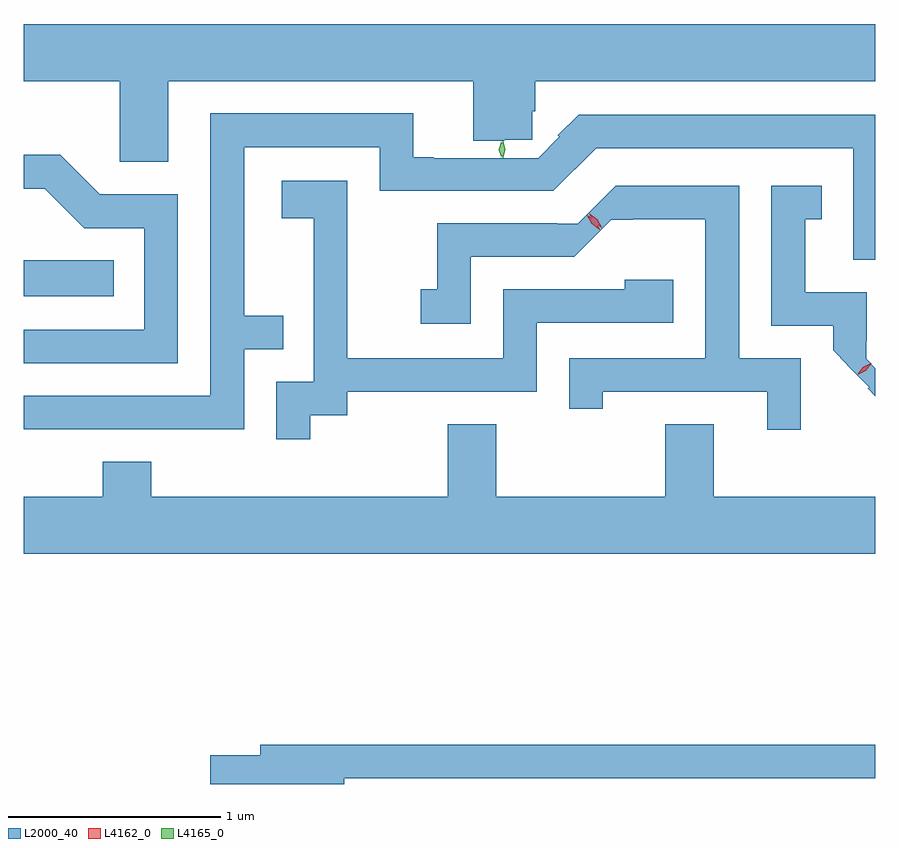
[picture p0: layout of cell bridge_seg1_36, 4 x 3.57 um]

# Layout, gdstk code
import gdstk
lib = gdstk.Library(unit=1e-6, precision=1e-09)
def R(c, l, rs):  # rectangles x0, y0, x1, y1
    for r in rs: c.add(gdstk.rectangle(r[:2], r[2:], *l))
def P(c, l, *ps):  # polygons
    for p in ps: c.add(gdstk.Polygon(p, *l))
L2000_40 = (2000, 40)
L4162_0 = (4162, 0)
L4165_0 = (4165, 0)

bridge_seg1_36 = lib.new_cell('bridge_seg1_36')
R(bridge_seg1_36, L2000_40, [(1534.549,876.366,1534.973,876.534)])
P(bridge_seg1_36, L2000_40, [(1535.229,877.376),(1536.661,877.376),(1536.661,877.096),(1536.807,877.096),(1536.807,877.101),(1536.938,877.101),(1536.938,877.234),(1536.952,877.234),(1536.952,877.376),(1538.549,877.376),(1538.549,877.644),(1534.549,877.644),(1534.549,877.376),(1535.001,877.376),(1535.001,876.996),(1535.229,876.996)],
  [(1535.584,876.116),(1535.768,876.116),(1535.768,876.274),(1535.584,876.274),(1535.584,877.066),(1536.221,877.066),(1536.221,876.861),(1537.037,876.861),(1537.237,877.061),(1538.446,877.061),(1538.446,876.536),(1538.549,876.536),(1538.549,877.219),(1537.155,877.219),(1537.057,877.121),(1537.064,877.114),(1536.965,877.014),(1536.475,877.014),(1536.475,877.019),(1536.379,877.019),(1536.379,877.224),(1535.426,877.224),(1535.426,875.899),(1534.549,875.899),(1534.549,875.741),(1535.584,875.741)],
  [(1535.274,876.844),(1534.907,876.844),(1534.722,877.029),(1534.549,877.029),(1534.549,876.871),(1534.649,876.871),(1534.834,876.686),(1535.116,876.686),(1535.116,876.209),(1534.549,876.209),(1534.549,876.051),(1535.274,876.051)],
  [(1535.894,875.806),(1536.069,875.806),(1536.069,875.916),(1536.959,875.916),(1536.959,876.241),(1537.599,876.241),(1537.599,876.444),(1537.371,876.444),(1537.371,876.399),(1536.801,876.399),(1536.801,876.074),(1536.069,876.074),(1536.069,876.909),(1535.761,876.909),(1535.761,876.731),(1535.911,876.731),(1535.911,875.964),(1535.736,875.964),(1535.736,875.693),(1535.894,875.693)],
  [(1538.549,876.027),(1538.505,876.071),(1538.505,876.155),(1538.508,876.155),(1538.508,876.384),(1538.219,876.384),(1538.219,876.726),(1538.298,876.726),(1538.298,876.884),(1538.061,876.884),(1538.061,876.226),(1538.351,876.226),(1538.351,876.111),(1538.418,876.044),(1538.416,876.042),(1538.519,875.939),(1538.513,875.933),(1538.549,875.897)],
  [(1538.199,876.074),(1537.909,876.074),(1537.909,876.884),(1537.329,876.884),(1537.151,876.706),(1537.055,876.706),(1537.055,876.709),(1536.491,876.709),(1536.491,876.399),(1536.413,876.399),(1536.413,876.236),(1536.649,876.236),(1536.649,876.551),(1537.136,876.551),(1537.309,876.724),(1537.409,876.724),(1537.409,876.726),(1537.751,876.726),(1537.751,876.074),(1537.111,876.074),(1537.111,875.838),(1537.269,875.838),(1537.269,875.916),(1538.041,875.916),(1538.041,875.738),(1538.199,875.738)],
  [(1538.549,875.424),(1537.789,875.424),(1537.789,875.764),(1537.561,875.764),(1537.561,875.424),(1536.769,875.424),(1536.769,875.764),(1536.541,875.764),(1536.541,875.424),(1535.149,875.424),(1535.149,875.589),(1534.921,875.589),(1534.921,875.424),(1534.549,875.424),(1534.549,875.156),(1538.549,875.156)],
  [(1536.054,874.101),(1538.549,874.101),(1538.549,874.259),(1535.661,874.259),(1535.661,874.209),(1535.426,874.209),(1535.426,874.075),(1536.054,874.075)])
P(bridge_seg1_36, L4162_0, [(1538.465,875.997),(1538.465,875.998),(1538.49,876.031),(1538.528,876.05),(1538.529,876.05),(1538.529,876.049),(1538.503,876.016),(1538.466,875.997)],
  [(1538.469,876.002),(1538.469,876.003),(1538.49,876.032),(1538.522,876.047),(1538.523,876.047),(1538.523,876.046),(1538.502,876.017),(1538.47,876.002)],
  [(1537.264,876.688),(1537.228,876.714),(1537.206,876.753),(1537.206,876.754),(1537.207,876.754),(1537.243,876.727),(1537.264,876.689),(1537.264,876.688)],
  [(1537.257,876.676),(1537.218,876.706),(1537.193,876.748),(1537.193,876.749),(1537.194,876.749),(1537.233,876.719),(1537.258,876.676),(1537.258,876.676)])
P(bridge_seg1_36, L4165_0, [(1536.791,877.019),(1536.791,877.02),(1536.781,877.054),(1536.791,877.09),(1536.791,877.09),(1536.792,877.09),(1536.801,877.054),(1536.792,877.02)],
  [(1536.8,877.017),(1536.8,877.017),(1536.79,877.055),(1536.8,877.093),(1536.8,877.093),(1536.801,877.093),(1536.81,877.055),(1536.801,877.017)])

lib.write_gds('bridge_seg1_36.gds')
